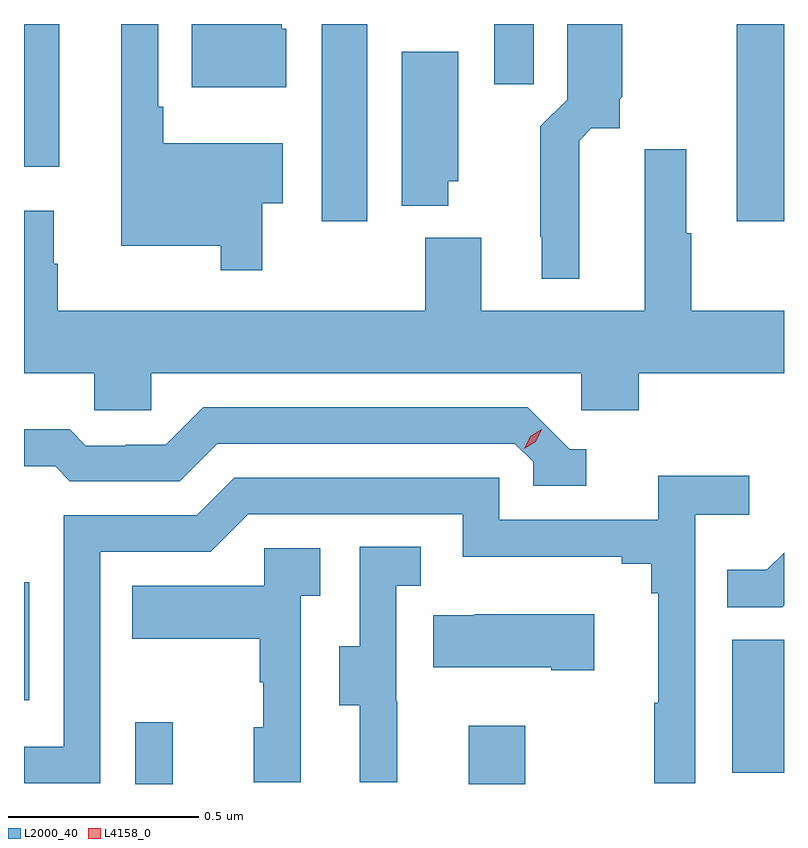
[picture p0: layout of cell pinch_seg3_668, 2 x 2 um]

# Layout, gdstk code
import gdstk
lib = gdstk.Library(unit=1e-6, precision=1e-09)
def R(c, l, rs):  # rectangles x0, y0, x1, y1
    for r in rs: c.add(gdstk.rectangle(r[:2], r[2:], *l))
def P(c, l, *ps):  # polygons
    for p in ps: c.add(gdstk.Polygon(p, *l))
L2000_40 = (2000, 40)
L4158_0 = (4158, 0)

pinch_seg3_668 = lib.new_cell('pinch_seg3_668')
R(pinch_seg3_668, L2000_40, [(1030.461,673.195,1030.559,673.357), (1031.339,673.195,1031.487,673.348), (1032.032,673.224,1032.168,673.575), (1030.168,673.416,1030.182,673.726), (1030.952,674.676,1031.071,675.195), (1032.044,674.676,1032.168,675.195), (1030.168,674.819,1030.261,675.195), (1031.405,675.036,1031.509,675.195)])
P(pinch_seg3_668, L2000_40, [(1030.795,674.723),(1030.849,674.723),(1030.849,674.881),(1030.534,674.881),(1030.534,674.977),(1030.521,674.977),(1030.521,675.195),(1030.424,675.195),(1030.424,674.612),(1030.686,674.612),(1030.686,674.547),(1030.795,674.547)],
  [(1030.858,675.183),(1030.846,675.183),(1030.846,675.195),(1030.61,675.195),(1030.61,675.029),(1030.858,675.029)],
  [(1031.629,674.888),(1031.661,674.921),(1031.736,674.921),(1031.736,674.997),(1031.742,675.003),(1031.742,675.195),(1031.597,675.195),(1031.597,674.996),(1031.527,674.926),(1031.527,674.635),(1031.531,674.635),(1031.531,674.525),(1031.629,674.525)],
  [(1031.284,674.781),(1031.311,674.781),(1031.311,675.122),(1031.162,675.122),(1031.162,674.717),(1031.284,674.717)],
  [(1030.503,674.276),(1031.634,674.276),(1031.634,674.178),(1031.786,674.178),(1031.786,674.276),(1032.168,674.276),(1032.168,674.44),(1031.924,674.44),(1031.924,674.645),(1031.911,674.645),(1031.911,674.866),(1031.801,674.866),(1031.801,674.44),(1031.371,674.44),(1031.371,674.632),(1031.224,674.632),(1031.224,674.44),(1030.257,674.44),(1030.257,674.564),(1030.246,674.564),(1030.246,674.704),(1030.168,674.704),(1030.168,674.276),(1030.353,674.276),(1030.353,674.178),(1030.503,674.178)],
  [(1031.647,674.076),(1031.604,674.076),(1031.493,674.187),(1030.64,674.187),(1030.541,674.088),(1030.434,674.088),(1030.434,674.085),(1030.331,674.085),(1030.289,674.128),(1030.168,674.128),(1030.168,674.031),(1030.25,674.031),(1030.289,673.992),(1030.578,673.992),(1030.677,674.091),(1031.46,674.091),(1031.508,674.043),(1031.508,673.98),(1031.647,673.98)],
  [(1030.368,673.806),(1030.659,673.806),(1030.758,673.905),(1031.322,673.905),(1031.322,673.793),(1031.741,673.793),(1031.741,673.774),(1031.818,673.774),(1031.818,673.697),(1031.837,673.697),(1031.837,673.409),(1031.826,673.409),(1031.826,673.197),(1031.934,673.197),(1031.934,673.904),(1032.076,673.904),(1032.076,674.006),(1031.837,674.006),(1031.837,673.89),(1031.418,673.89),(1031.418,674.001),(1030.721,674.001),(1030.622,673.902),(1030.272,673.902),(1030.272,673.293),(1030.168,673.293),(1030.168,673.197),(1030.368,673.197)],
  [(1031.15,673.413),(1031.148,673.413),(1031.148,673.717),(1031.212,673.717),(1031.212,673.82),(1031.052,673.82),(1031.052,673.557),(1030.997,673.557),(1030.997,673.402),(1031.051,673.402),(1031.051,673.2),(1031.15,673.2)],
  [(1030.896,673.691),(1030.948,673.691),(1030.948,673.815),(1030.8,673.815),(1030.8,673.717),(1030.453,673.717),(1030.453,673.577),(1030.788,673.577),(1030.788,673.463),(1030.798,673.463),(1030.798,673.344),(1030.772,673.344),(1030.772,673.2),(1030.896,673.2)],
  [(1032.168,673.665),(1032.168,673.804),(1032.123,673.759),(1032.019,673.759),(1032.019,673.66),(1032.163,673.66)],
  [(1031.668,673.642),(1031.353,673.642),(1031.353,673.639),(1031.245,673.639),(1031.245,673.502),(1031.555,673.502),(1031.555,673.495),(1031.668,673.495)])
P(pinch_seg3_668, L4158_0, [(1031.484,674.077),(1031.484,674.077),(1031.5,674.11),(1031.531,674.129),(1031.531,674.129),(1031.531,674.129),(1031.515,674.096),(1031.484,674.077)])

lib.write_gds('pinch_seg3_668.gds')
